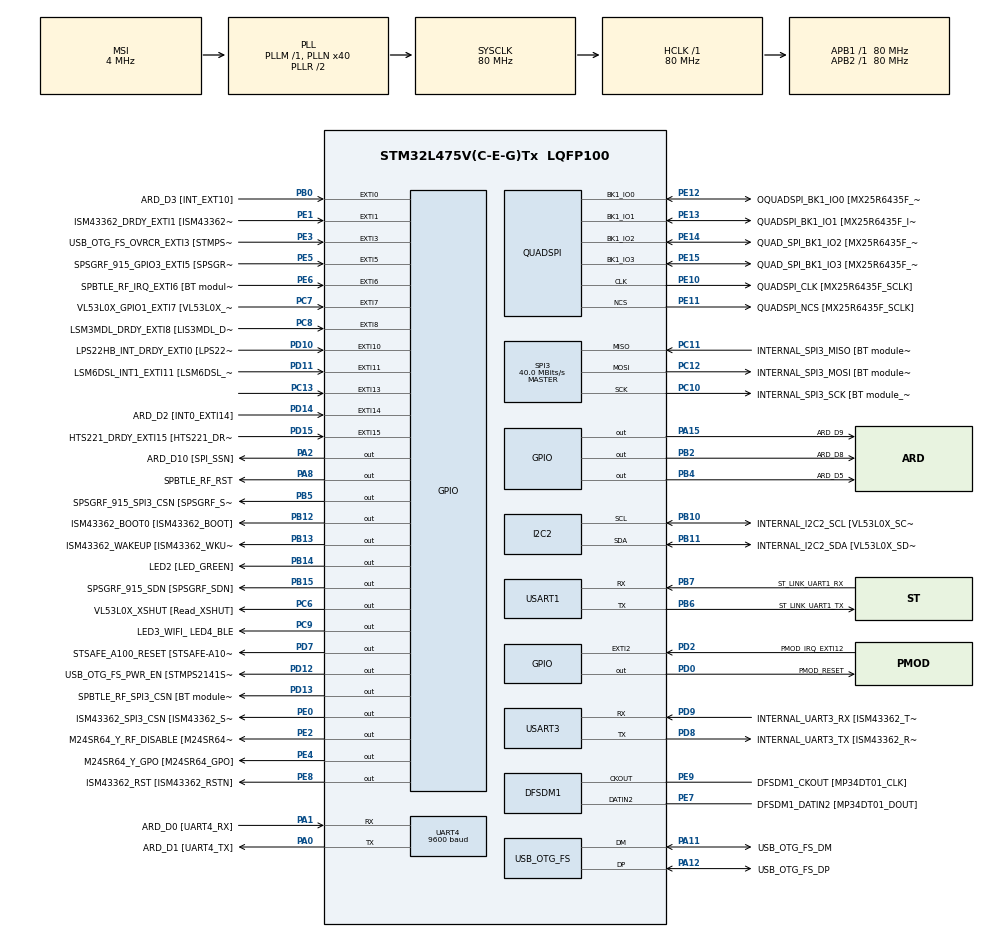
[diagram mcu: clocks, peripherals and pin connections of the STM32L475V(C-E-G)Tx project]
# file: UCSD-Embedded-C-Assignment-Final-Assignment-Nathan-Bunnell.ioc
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PD12.GPIO_Label=USB_OTG_FS_PWR_EN [STMPS2141STR_EN]
SPI3.Direction=SPI_DIRECTION_2LINES
SPI3.VirtualType=VM_MASTER
QUADSPI.ClockPrescaler=2
PB10.Mode=I2C
PC12.Signal=SPI3_MOSI
PB14.GPIO_Label=LED2 [LED_GREEN]
PC6.GPIO_Label=VL53L0X_XSHUT [Read_XSHUT]
PA6.GPIO_Label=ARD_D12 [SPI1_MISO]
PB6.GPIO_Label=ST_LINK_UART1_TX
PA15\ (JTDI).Signal=GPIO_Output
PC15-OSC32_OUT\ (PC15).Mode=LSE-External-Oscillator
PB13.Signal=GPIO_Output
PD6.GPIO_Label=PMOD_UART2_RX
PE6.GPIO_Label=SPBTLE_RF_IRQ_EXTI6 [BT module_SPI_IRQ]
RCC.SYSCLKSource=RCC_SYSCLKSOURCE_PLLCLK
PC14-OSC32_IN\ (PC14).Mode=LSE-External-Oscillator
SH.ADCx_IN16.0=ADC1_IN16
USART3.VirtualMode-Asynchronous=VM_ASYNC
PA14\ (JTCK-SWCLK).Signal=SYS_JTCK-SWCLK
PD4.Signal=USART2_RTS
RCC.APB2TimFreq_Value=80000000
PB6.Signal=USART1_TX
PC7.Signal=GPXTI7
PB6.Mode=Asynchronous
PC3.Signal=ADCx_IN4
PD0.Signal=GPIO_Output
PD8.Signal=USART3_TX
PE5.Signal=GPXTI5
PE1.Signal=GPXTI1
QUADSPI.FlashSize=23
NVIC.EXTI15_10_IRQn=true\:0\:0\:false\:false\:true\:true\:true
PB2.Signal=GPIO_Output
PD1.GPIO_Label=PMOD_SPI2_SCK
PB12.GPIO_Label=ISM43362_BOOT0 [ISM43362_BOOT]
PC4.GPIO_Label=ARD_A1 [ADC]
PE9.Signal=S_CKOUTDFSDM1
PB1.GPIO_Label=ARD_D6 [ADC1_IN6]
PE4.GPIO_Label=M24SR64_Y_GPO [M24SR64_GPO]
PA0.Mode=Asynchronous
PE2.Signal=GPIO_Output
PA8.Signal=GPIO_Output
PE13.Mode=Single Bank
PE10.Signal=QUADSPI_CLK
PA0.Signal=UART4_TX
Mcu.Package=LQFP100
PB9.Signal=I2C1_SDA
PB1.Signal=ADCx_IN16
SPI3.Mode=SPI_MODE_MASTER
SH.ADCx_IN14.0=ADC1_IN14
PD12.Signal=GPIO_Output
PA10.Signal=USB_OTG_FS_ID
PE12.GPIO_Label=OQUADSPI_BK1_IO0 [MX25R6435F_IO0]
PC11.Mode=Full_Duplex_Master
SH.ADCx_IN9.0=ADC1_IN9
RCC.APB1TimFreq_Value=80000000
PA13\ (JTMS-SWDIO).Signal=SYS_JTMS-SWDIO
PE10.GPIO_Label=QUADSPI_CLK [MX25R6435F_SCLK]
PA4.GPIO_Label=ARD_D7
PD15.Signal=GPXTI15
PE12.Mode=Single Bank
PD9.GPIO_Label=INTERNAL_UART3_RX [ISM43362_TX]
PA9.GPIO_Label=USB_OTG_FS_VBUS [STMPS2141STR_OUT]
PC13.Signal=GPXTI13
PD3.Signal=USART2_CTS
PC6.Signal=GPIO_Output
PE10.Mode=Single Bank
PC2.Signal=ADCx_IN3
PB11.GPIO_Label=INTERNAL_I2C2_SDA [VL53L0X_SDA]
PD7.Signal=GPIO_Output
PD1.Signal=SPI2_SCK
PA11.GPIO_Label=USB_OTG_FS_DM
PC0.Signal=ADCx_IN1
PD10.Signal=GPXTI10
PB8.GPIO_Label=ARD_D15 [I2C1_SCL]
PA8.GPIO_Label=SPBTLE_RF_RST
PB11.Mode=I2C
PE8.GPIO_Label=ISM43362_RST [ISM43362_RSTN]
PA9.Signal=USB_OTG_FS_VBUS
PE9.GPIO_Label=DFSDM1_CKOUT [MP34DT01_CLK]
PD8.Mode=Asynchronous
PB10.Signal=I2C2_SCL
PB14.Signal=GPIO_Output
PA5.Signal=SPI1_SCK
PC12.Mode=Full_Duplex_Master
PE1.GPIO_Label=ISM43362_DRDY_EXTI1 [ISM43362_DATARDY]
PA1.Mode=Asynchronous
PE14.Signal=QUADSPI_BK1_IO2
PE15.Signal=QUADSPI_BK1_IO3
PB15.GPIO_Label=SPSGRF_915_SDN [SPSGRF_SDN]
PE8.Signal=GPIO_Output
PA1.GPIO_Label=ARD_D0 [UART4_RX]
SH.ADCx_IN4.0=ADC1_IN4
QUADSPI.FifoThreshold=4
PC7.GPIO_Label=VL53L0X_GPIO1_EXTI7 [VL53L0X_GPIO1]
PA13\ (JTMS-SWDIO).Mode=Serial_Wire
PA4.Signal=ADCx_IN9
PB5.Signal=GPIO_Output
PE13.GPIO_Label=QUADSPI_BK1_IO1 [MX25R6435F_IO1]
PA5.GPIO_Label=ARD_D13 [SPI1_SCK]
PD11.Signal=GPXTI11
PE5.GPIO_Label=SPSGRF_915_GPIO3_EXTI5 [SPSGRF_GPIO_3]
PC12.GPIO_Label=INTERNAL_SPI3_MOSI [BT module_SPI_MOSI] [ISM43362_MOSI]
PA11.Signal=USB_OTG_FS_DM
ProjectManager.HeapSize=0x200
NVIC.PriorityGroup=NVIC_PRIORITYGROUP_4
PE3.Signal=GPXTI3
PC3.GPIO_Label=ARD_A2 [ADC]
PB4\ (NJTRST).GPIO_Label=ARD_D5
PD2.Signal=GPXTI2
PB0.Signal=GPXTI0
PC1.Signal=ADCx_IN2
PD2.GPIO_Label=PMOD_IRQ_EXTI12
PE15.Mode=Single Bank
Mcu.Family=STM32L4
RCC.CortexFreq_Value=80000000
PE11.GPIO_Label=QUADSPI_NCS [MX25R6435F_SCLK]
SH.ADCx_IN2.0=ADC1_IN2
PC10.Signal=SPI3_SCK
I2C2.Timing=0x10909CEC
PA0.GPIO_Label=ARD_D1 [UART4_TX]
PC0.GPIO_Label=ARD_A5 [ADC]
PD0.GPIO_Label=PMOD_RESET
PA11.Mode=Device_Only
PB0.GPIO_Label=ARD_D3 [INT_EXT10]
PB13.GPIO_Label=ISM43362_WAKEUP [ISM43362_WKUP]
PB11.Signal=I2C2_SDA
PB15.Signal=GPIO_Output
PD9.Mode=Asynchronous
ProjectManager.StackSize=0x400
PB3\ (JTDO-TRACESWO).Signal=SYS_JTDO-SWO
PD13.Signal=GPIO_Output
PA12.Signal=USB_OTG_FS_DP
PE11.Mode=Single Bank
UART4.BaudRate=9600
PD11.GPIO_Label=LSM6DSL_INT1_EXTI11 [LSM6DSL_INT1]
RCC.HCLKFreq_Value=80000000
SH.ADCx_IN3.0=ADC1_IN3
PB5.PinState=GPIO_PIN_SET
RCC.AHBFreq_Value=80000000
RCC.HSE_VALUE=8000000
PE13.Signal=QUADSPI_BK1_IO1
PC11.GPIO_Label=INTERNAL_SPI3_MISO [BT module_SPI_MISO] [ISM43362_MISO]
PA10.GPIO_Label=USB_OTG_FS_ID
PB7.Signal=USART1_RX
PE4.Signal=GPIO_Output
QUADSPI.SampleShifting=QSPI_SAMPLE_SHIFTING_HALFCYCLE
PD7.GPIO_Label=STSAFE_A100_RESET [STSAFE-A100_RESET]
PB7.GPIO_Label=ST_LINK_UART1_RX
PD13.GPIO_Label=SPBTLE_RF_SPI3_CSN [BT module_SPI_CS]
PA6.Signal=SPI1_MISO
PD5.GPIO_Label=PMOD_UART2_TX
PA2.GPIO_Label=ARD_D10 [SPI_SSN]
USB_OTG_FS.VirtualMode=Device_Only
PE0.GPIO_Label=ISM43362_SPI3_CSN [ISM43362_SSN]
SH.ADCx_IN1.0=ADC1_IN1
PB5.GPIO_Label=SPSGRF_915_SPI3_CSN [SPSGRF_SPI_CS]
PC5.Signal=ADCx_IN14
PD3.GPIO_Label=PMOD_UART2_CTS
PE7.Signal=S_DATAIN2DFSDM1
PD6.Signal=USART2_RX
PE2.GPIO_Label=M24SR64_Y_RF_DISABLE [M24SR64_RFDIS]
PC2.GPIO_Label=ARD_A3 [ADC]
RCC.PLLSAI1N=24
PA3.Signal=S_TIM2_CH4
RCC.MSI_VALUE=4000000
PA14\ (JTCK-SWCLK).Mode=Serial_Wire
SH.ADCx_IN13.0=ADC1_IN13
PD15.GPIO_Label=HTS221_DRDY_EXTI15 [HTS221_DRDY]
PB9.GPIO_Label=ARD_D14 [I2C1_SDA]
PC10.GPIO_Label=INTERNAL_SPI3_SCK [BT module_SPI_SCLK] [ISM43362_SCK]
PC9.GPIO_Label=LED3_WIFI_ LED4_BLE
PC11.Signal=SPI3_MISO
PC8.Signal=GPXTI8
PC4.Signal=ADCx_IN13
PC10.Mode=Full_Duplex_Master
SH.S_DATAIN2DFSDM1.0=DFSDM1_DATIN2,PDM_SPI_Input_from_ch12_and_Internal_Clock
PE14.GPIO_Label=QUAD_SPI_BK1_IO2 [MX25R6435F_IO2]
PC15-OSC32_OUT\ (PC15).Signal=RCC_OSC32_OUT
PD9.Signal=USART3_RX
PD5.Signal=USART2_TX
PA14\ (JTCK-SWCLK).GPIO_Label=SYS_JTCK_SWCLK
PB3\ (JTDO-TRACESWO).GPIO_Label=SYS_JTD0_SWO
PA12.GPIO_Label=USB_OTG_FS_DP
PD8.GPIO_Label=INTERNAL_UART3_TX [ISM43362_RX]
PC8.GPIO_Label=LSM3MDL_DRDY_EXTI8 [LIS3MDL_DRDY]
USART1.VirtualMode-Asynchronous=VM_ASYNC
PE0.PinState=GPIO_PIN_SET
PE15.GPIO_Label=QUAD_SPI_BK1_IO3 [MX25R6435F_IO3]
ProjectManager.TargetToolchain=STM32CubeIDE
PB10.GPIO_Label=INTERNAL_I2C2_SCL [VL53L0X_SCL]
RCC.USBFreq_Value=48000000
PD10.GPIO_Label=LPS22HB_INT_DRDY_EXTI0 [LPS22HB_INT_DRDY] 
PE11.Signal=QUADSPI_NCS
PA1.Signal=UART4_RX
board=B-L475E-IOT01A1
RCC.VCOOutputFreq_Value=160000000
RCC.APB2Freq_Value=80000000
SPI3.CalculateBaudRate=40.0 MBits/s
PA13\ (JTMS-SWDIO).GPIO_Label=SYS_JTMS_SWDIO
PD4.GPIO_Label=PMOD_UART2_RTS
PE14.Mode=Single Bank
SH.S_CKOUTDFSDM1.0=DFSDM1_CKOUT,CKOUT
SH.S_CKOUTDFSDM1.1=DFSDM1_CKOUT,PDM_SPI_Input_from_ch12_and_Internal_Clock
RCC.ADCFreq_Value=48000000
PC1.GPIO_Label=ARD_A4 [ADC]
PD14.GPIO_Label=ARD_D2 [INT0_EXTI14]
PE6.Signal=GPXTI6
PA15\ (JTDI).GPIO_Label=ARD_D9
Mcu.Name=STM32L475V(C-E-G)Tx
PE0.Signal=GPIO_Output
PE7.GPIO_Label=DFSDM1_DATIN2 [MP34DT01_DOUT]
PE12.Signal=QUADSPI_BK1_IO0
PA2.Signal=GPIO_Output
PD14.Signal=GPXTI14
RCC.SYSCLKFreq_VALUE=80000000
PA7.GPIO_Label=ARD_D11 [SPI1_MOSI]
PA12.Mode=Device_Only
PC5.GPIO_Label=ARD_A0 [ADC]
PC14-OSC32_IN\ (PC14).Signal=RCC_OSC32_IN
PB7.Mode=Asynchronous
NVIC.EXTI9_5_IRQn=true\:0\:0\:false\:false\:true\:true\:true
PB2.GPIO_Label=ARD_D8
SH.S_TIM2_CH4.0=TIM2_CH4
RCC.HSI_VALUE=16000000
RCC.PLLN=40
PB8.Signal=I2C1_SCL
PE3.GPIO_Label=USB_OTG_FS_OVRCR_EXTI3 [STMPS2141STR_FAULT]
PC9.Signal=GPIO_Output
PD13.PinState=GPIO_PIN_SET
RCC.APB1Freq_Value=80000000
PB12.Signal=GPIO_Output
PA3.GPIO_Label=ARD_D4
PA7.Signal=SPI1_MOSI
PB4\ (NJTRST).Signal=GPIO_Output

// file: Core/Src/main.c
/* USER CODE BEGIN Header */
/**
  ******************************************************************************
  * @file           : main.c
  * @brief          : Main program body
  ******************************************************************************
  * @attention
  *
  * <h2><center>&copy; Copyright (c) 2021 STMicroelectronics.
  * All rights reserved.</center></h2>
  *
  * This software component is licensed by ST under BSD 3-Clause license,
  * the "License"; You may not use this file except in compliance with the
  * License. You may obtain a copy of the License at:
  *                        opensource.org/licenses/BSD-3-Clause
  *
  ******************************************************************************
  */
/* USER CODE END Header */
#include "main.h"

/* USER CODE BEGIN Includes */

#include "stm32l4xx_ll_utils.h"
#include "stm32l4xx_ll_gpio.h"

#include "stm32l475e_iot01.h"
#include "stm32l475e_iot01_tsensor.h"

#include <stdio.h>
#include <string.h>

/* USER CODE END Includes */

DFSDM_Channel_HandleTypeDef hdfsdm1_channel1;

I2C_HandleTypeDef hi2c2;

QSPI_HandleTypeDef hqspi;

SPI_HandleTypeDef hspi3;

UART_HandleTypeDef huart4;
UART_HandleTypeDef huart1;
UART_HandleTypeDef huart3;

PCD_HandleTypeDef hpcd_USB_OTG_FS;

/* USER CODE BEGIN PV */

// Global counter variable to track current demo #
uint8_t demoCount = 1;

/* USER CODE END PV */

void SystemClock_Config(void);
static void MX_GPIO_Init(void);
static void MX_DFSDM1_Init(void);
static void MX_I2C2_Init(void);
static void MX_QUADSPI_Init(void);
static void MX_SPI3_Init(void);
static void MX_USART1_UART_Init(void);
static void MX_USART3_UART_Init(void);
static void MX_USB_OTG_FS_PCD_Init(void);
static void MX_UART4_Init(void);
/* USER CODE BEGIN PFP */

void do_LL_demo(void);
void do_HAL_demo(void);
void do_BSP_demo(void);
void do_bonus_demo(void);

/* USER CODE END PFP */

/* USER CODE BEGIN 0 */

void HAL_GPIO_EXTI_Callback(uint16_t GPIO_Pin)
{
	if (GPIO_Pin == GPIO_PIN_13)
	{
		if (demoCount >= 4)
		{
			demoCount = 1;
		}
		else
		{
			demoCount += 1;
		}

		char buffer[100] = {0};
		snprintf(buffer, sizeof(buffer), "\nMoving to demo #%d\n", demoCount);
		HAL_UART_Transmit(&huart4, (uint8_t*) buffer, strlen(buffer), 1000);
	}
}

/*
 * (a) get flash size  LL_GetFlashSize()
 * (b) get the device unique ID, LL_GetUID_Wordn()
 * (c) toggle the LED, LL_GPIO_TogglePin() at a 1 second rate
 *
 * Display the Flash Size and GUID only when demo begins,
 * but keep flashing the LED every 1 second until the Blue Button is
 * pressed to advance to next demo.
 *
 */
void do_LL_demo(void)
{
	char buffer[100] = {0};

	uint32_t flashSize = LL_GetFlashSize();

	snprintf(buffer, sizeof(buffer), "\tFlash size: %lu\n", flashSize);
	HAL_UART_Transmit(&huart4, (uint8_t*) buffer, strlen(buffer), 1000);

	uint32_t uidWord[3];
	uidWord[0] = LL_GetUID_Word0();
	uidWord[1] = LL_GetUID_Word1();
	uidWord[2] = LL_GetUID_Word2();

	snprintf(buffer, sizeof(buffer), "\tUID: %lu%lu%lu\n", uidWord[0], uidWord[1], uidWord[2]);
	HAL_UART_Transmit(&huart4, (uint8_t*) buffer, strlen(buffer), 1000);

	while(demoCount == 1)
	{
		LL_GPIO_SetOutputPin(GPIOB, GPIO_PIN_14);
		HAL_Delay(1000);
		LL_GPIO_ResetOutputPin(GPIOB, GPIO_PIN_14);
		HAL_Delay(1000);
	}
}

/*
 * (a) get the device ID, HAL_GetDEVID()
 * (b) read the device unique ID, HAL_GetUIDwn()
 * (c)toggle the LED, HAL_GPIO_TogglePin() at a 2 second rate, using HAL_Delay() to sleep for the 2 seconds.
 *
 * Display the Dev ID info only when demo 2 begins, but keep flashing
 * the LED every 2 second until the Blue Button is pressed to
 * advance to next demo.
 *
 */
void do_HAL_demo(void)
{
	char buffer[100] = {0};

	uint32_t devID = HAL_GetDEVID();

	snprintf(buffer, sizeof(buffer), "\tDevice ID: %lu\n", devID);
	HAL_UART_Transmit(&huart4, (uint8_t*) buffer, strlen(buffer), 1000);

	uint32_t uidWord[3];
	uidWord[0] = HAL_GetUIDw0();
	uidWord[1] = HAL_GetUIDw1();
	uidWord[2] = HAL_GetUIDw2();

	snprintf(buffer, sizeof(buffer), "\tUID: %lu%lu%lu\n", uidWord[0], uidWord[1], uidWord[2]);
	HAL_UART_Transmit(&huart4, (uint8_t*) buffer, strlen(buffer), 1000);

	while(demoCount == 2)
	{
		HAL_GPIO_TogglePin(LED2_GPIO_Port, LED2_Pin);
		HAL_Delay(2000);
	}
}

/*
 * (a) read the temperature, BSP_TSENSOR_ReadTemp()
 * (b) turn the LED on every 3 seconds with BSP_LED_On()
 * (c)  turn LED off, every 3 seconds with BSP_LED_Off().
 *
 * In other words the LED should blink on/off at a 3-second rate (3 seconds on, 3 seconds off). Continue
 * this until the Blue Button pressed to advance to the next demo.
 */
void do_BSP_demo(void)
{
	// Read the temperature sensor, trim the mantissa to give an integer value
	float temperature = BSP_TSENSOR_ReadTemp();
	int value = temperature;

	char buffer[100];
	snprintf(buffer, sizeof(buffer), "\tHTS221 reading %d degrees C\n", value);
	HAL_UART_Transmit(&huart4, (uint8_t *)buffer, strlen(buffer), 1000);

	while(demoCount == 3)
	{
		BSP_LED_On(LED2);
		HAL_Delay(3000);
		BSP_LED_Off(LED2);
		HAL_Delay(3000);
	}
}

/*
 * (4) connect an I2C or SPI device to the Arduino pins, and read the info from those devices
 */
void do_bonus_demo(void)
{
	char* cliResponse = "\tDEMO NOT IMPLEMENTED YET\n";
	HAL_UART_Transmit(&huart4, (uint8_t*) cliResponse, strlen(cliResponse), 1000);

	while(demoCount == 4)
	{
		HAL_Delay(1000);
	}
}

/* USER CODE END 0 */

int main(void)
{

  /* MCU Configuration--------------------------------------------------------*/

  /* Reset of all peripherals, Initializes the Flash interface and the Systick. */
  HAL_Init();

  /* Configure the system clock */
  SystemClock_Config();

  /* Initialize all configured peripherals */
  MX_GPIO_Init();
  MX_DFSDM1_Init();
  MX_I2C2_Init();
  MX_QUADSPI_Init();
  MX_SPI3_Init();
  MX_USART1_UART_Init();
  MX_USART3_UART_Init();
  MX_USB_OTG_FS_PCD_Init();
  MX_UART4_Init();
  /* USER CODE BEGIN 2 */

  demoCount = 1;

  // Init the temp sensor
  BSP_TSENSOR_Init();

  /* USER CODE END 2 */

  /* Infinite loop */
  while (1)
  {

    /* USER CODE BEGIN 3 */

	  	  // Define strings to structure prompt around
	  	  char* cliResponse = "\0";

	  	  // Evaluate input
	  	  switch (demoCount)
	  	  {
	  		case 1:
	  			cliResponse = "\nLL demo:\n";
	  			HAL_UART_Transmit(&huart4, (uint8_t*) cliResponse, strlen(cliResponse), 1000);
	  			do_LL_demo();
	  			break;

	  		case 2:
	  			cliResponse = "\nHAL demo:\n";
	  			HAL_UART_Transmit(&huart4, (uint8_t*) cliResponse, strlen(cliResponse), 1000);
	  			do_HAL_demo();
	  			break;

	  		case 3:
				cliResponse = "\nBSP demo:\n";
				HAL_UART_Transmit(&huart4, (uint8_t*) cliResponse, strlen(cliResponse), 1000);
				do_BSP_demo();
				break;

	  		case 4:
				cliResponse = "\nBonus demo:\n";
				HAL_UART_Transmit(&huart4, (uint8_t*) cliResponse, strlen(cliResponse), 1000);
				do_bonus_demo();
				break;

	  		default:
	  			HAL_UART_Transmit(&huart4, (uint8_t*) cliResponse, strlen(cliResponse), 1000);
	  			break;
	  	  }

	  }
  /* USER CODE END 3 */
}

void SystemClock_Config(void)
{
  RCC_OscInitTypeDef RCC_OscInitStruct = {0};
  RCC_ClkInitTypeDef RCC_ClkInitStruct = {0};
  RCC_PeriphCLKInitTypeDef PeriphClkInit = {0};

  /** Configure LSE Drive Capability
  */
  HAL_PWR_EnableBkUpAccess();
  __HAL_RCC_LSEDRIVE_CONFIG(RCC_LSEDRIVE_LOW);
  /** Initializes the RCC Oscillators according to the specified parameters
  * in the RCC_OscInitTypeDef structure.
  */
  RCC_OscInitStruct.OscillatorType = RCC_OSCILLATORTYPE_LSE|RCC_OSCILLATORTYPE_MSI;
  RCC_OscInitStruct.LSEState = RCC_LSE_ON;
  RCC_OscInitStruct.MSIState = RCC_MSI_ON;
  RCC_OscInitStruct.MSICalibrationValue = 0;
  RCC_OscInitStruct.MSIClockRange = RCC_MSIRANGE_6;
  RCC_OscInitStruct.PLL.PLLState = RCC_PLL_ON;
  RCC_OscInitStruct.PLL.PLLSource = RCC_PLLSOURCE_MSI;
  RCC_OscInitStruct.PLL.PLLM = 1;
  RCC_OscInitStruct.PLL.PLLN = 40;
  RCC_OscInitStruct.PLL.PLLP = RCC_PLLP_DIV7;
  RCC_OscInitStruct.PLL.PLLQ = RCC_PLLQ_DIV2;
  RCC_OscInitStruct.PLL.PLLR = RCC_PLLR_DIV2;
  if (HAL_RCC_OscConfig(&RCC_OscInitStruct) != HAL_OK)
  {
    Error_Handler();
  }
  /** Initializes the CPU, AHB and APB buses clocks
  */
  RCC_ClkInitStruct.ClockType = RCC_CLOCKTYPE_HCLK|RCC_CLOCKTYPE_SYSCLK
                              |RCC_CLOCKTYPE_PCLK1|RCC_CLOCKTYPE_PCLK2;
  RCC_ClkInitStruct.SYSCLKSource = RCC_SYSCLKSOURCE_PLLCLK;
  RCC_ClkInitStruct.AHBCLKDivider = RCC_SYSCLK_DIV1;
  RCC_ClkInitStruct.APB1CLKDivider = RCC_HCLK_DIV1;
  RCC_ClkInitStruct.APB2CLKDivider = RCC_HCLK_DIV1;

  if (HAL_RCC_ClockConfig(&RCC_ClkInitStruct, FLASH_LATENCY_4) != HAL_OK)
  {
    Error_Handler();
  }
  PeriphClkInit.PeriphClockSelection = RCC_PERIPHCLK_USART1|RCC_PERIPHCLK_USART3
                              |RCC_PERIPHCLK_UART4|RCC_PERIPHCLK_I2C2
                              |RCC_PERIPHCLK_DFSDM1|RCC_PERIPHCLK_USB;
  PeriphClkInit.Usart1ClockSelection = RCC_USART1CLKSOURCE_PCLK2;
  PeriphClkInit.Usart3ClockSelection = RCC_USART3CLKSOURCE_PCLK1;
  PeriphClkInit.Uart4ClockSelection = RCC_UART4CLKSOURCE_PCLK1;
  PeriphClkInit.I2c2ClockSelection = RCC_I2C2CLKSOURCE_PCLK1;
  PeriphClkInit.Dfsdm1ClockSelection = RCC_DFSDM1CLKSOURCE_PCLK;
  PeriphClkInit.UsbClockSelection = RCC_USBCLKSOURCE_PLLSAI1;
  PeriphClkInit.PLLSAI1.PLLSAI1Source = RCC_PLLSOURCE_MSI;
  PeriphClkInit.PLLSAI1.PLLSAI1M = 1;
  PeriphClkInit.PLLSAI1.PLLSAI1N = 24;
  PeriphClkInit.PLLSAI1.PLLSAI1P = RCC_PLLP_DIV7;
  PeriphClkInit.PLLSAI1.PLLSAI1Q = RCC_PLLQ_DIV2;
  PeriphClkInit.PLLSAI1.PLLSAI1R = RCC_PLLR_DIV2;
  PeriphClkInit.PLLSAI1.PLLSAI1ClockOut = RCC_PLLSAI1_48M2CLK;
  if (HAL_RCCEx_PeriphCLKConfig(&PeriphClkInit) != HAL_OK)
  {
    Error_Handler();
  }
  /** Configure the main internal regulator output voltage
  */
  if (HAL_PWREx_ControlVoltageScaling(PWR_REGULATOR_VOLTAGE_SCALE1) != HAL_OK)
  {
    Error_Handler();
  }
  /** Enable MSI Auto calibration
  */
  HAL_RCCEx_EnableMSIPLLMode();
}

static void MX_DFSDM1_Init(void)
{

  hdfsdm1_channel1.Instance = DFSDM1_Channel1;
  hdfsdm1_channel1.Init.OutputClock.Activation = ENABLE;
  hdfsdm1_channel1.Init.OutputClock.Selection = DFSDM_CHANNEL_OUTPUT_CLOCK_SYSTEM;
  hdfsdm1_channel1.Init.OutputClock.Divider = 2;
  hdfsdm1_channel1.Init.Input.Multiplexer = DFSDM_CHANNEL_EXTERNAL_INPUTS;
  hdfsdm1_channel1.Init.Input.DataPacking = DFSDM_CHANNEL_STANDARD_MODE;
  hdfsdm1_channel1.Init.Input.Pins = DFSDM_CHANNEL_FOLLOWING_CHANNEL_PINS;
  hdfsdm1_channel1.Init.SerialInterface.Type = DFSDM_CHANNEL_SPI_RISING;
  hdfsdm1_channel1.Init.SerialInterface.SpiClock = DFSDM_CHANNEL_SPI_CLOCK_INTERNAL;
  hdfsdm1_channel1.Init.Awd.FilterOrder = DFSDM_CHANNEL_FASTSINC_ORDER;
  hdfsdm1_channel1.Init.Awd.Oversampling = 1;
  hdfsdm1_channel1.Init.Offset = 0;
  hdfsdm1_channel1.Init.RightBitShift = 0x00;
  if (HAL_DFSDM_ChannelInit(&hdfsdm1_channel1) != HAL_OK)
  {
    Error_Handler();
  }

}

static void MX_I2C2_Init(void)
{

  hi2c2.Instance = I2C2;
  hi2c2.Init.Timing = 0x10909CEC;
  hi2c2.Init.OwnAddress1 = 0;
  hi2c2.Init.AddressingMode = I2C_ADDRESSINGMODE_7BIT;
  hi2c2.Init.DualAddressMode = I2C_DUALADDRESS_DISABLE;
  hi2c2.Init.OwnAddress2 = 0;
  hi2c2.Init.OwnAddress2Masks = I2C_OA2_NOMASK;
  hi2c2.Init.GeneralCallMode = I2C_GENERALCALL_DISABLE;
  hi2c2.Init.NoStretchMode = I2C_NOSTRETCH_DISABLE;
  if (HAL_I2C_Init(&hi2c2) != HAL_OK)
  {
    Error_Handler();
  }
  /** Configure Analogue filter
  */
  if (HAL_I2CEx_ConfigAnalogFilter(&hi2c2, I2C_ANALOGFILTER_ENABLE) != HAL_OK)
  {
    Error_Handler();
  }
  /** Configure Digital filter
  */
  if (HAL_I2CEx_ConfigDigitalFilter(&hi2c2, 0) != HAL_OK)
  {
    Error_Handler();
  }

}

static void MX_QUADSPI_Init(void)
{

  /* QUADSPI parameter configuration*/
  hqspi.Instance = QUADSPI;
  hqspi.Init.ClockPrescaler = 2;
  hqspi.Init.FifoThreshold = 4;
  hqspi.Init.SampleShifting = QSPI_SAMPLE_SHIFTING_HALFCYCLE;
  hqspi.Init.FlashSize = 23;
  hqspi.Init.ChipSelectHighTime = QSPI_CS_HIGH_TIME_1_CYCLE;
  hqspi.Init.ClockMode = QSPI_CLOCK_MODE_0;
  if (HAL_QSPI_Init(&hqspi) != HAL_OK)
  {
    Error_Handler();
  }

}

static void MX_SPI3_Init(void)
{

  /* SPI3 parameter configuration*/
  hspi3.Instance = SPI3;
  hspi3.Init.Mode = SPI_MODE_MASTER;
  hspi3.Init.Direction = SPI_DIRECTION_2LINES;
  hspi3.Init.DataSize = SPI_DATASIZE_4BIT;
  hspi3.Init.CLKPolarity = SPI_POLARITY_LOW;
  hspi3.Init.CLKPhase = SPI_PHASE_1EDGE;
  hspi3.Init.NSS = SPI_NSS_SOFT;
  hspi3.Init.BaudRatePrescaler = SPI_BAUDRATEPRESCALER_2;
  hspi3.Init.FirstBit = SPI_FIRSTBIT_MSB;
  hspi3.Init.TIMode = SPI_TIMODE_DISABLE;
  hspi3.Init.CRCCalculation = SPI_CRCCALCULATION_DISABLE;
  hspi3.Init.CRCPolynomial = 7;
  hspi3.Init.CRCLength = SPI_CRC_LENGTH_DATASIZE;
  hspi3.Init.NSSPMode = SPI_NSS_PULSE_ENABLE;
  if (HAL_SPI_Init(&hspi3) != HAL_OK)
  {
    Error_Handler();
  }

}

static void MX_UART4_Init(void)
{

  huart4.Instance = UART4;
  huart4.Init.BaudRate = 9600;
  huart4.Init.WordLength = UART_WORDLENGTH_8B;
  huart4.Init.StopBits = UART_STOPBITS_1;
  huart4.Init.Parity = UART_PARITY_NONE;
  huart4.Init.Mode = UART_MODE_TX_RX;
  huart4.Init.HwFlowCtl = UART_HWCONTROL_NONE;
  huart4.Init.OverSampling = UART_OVERSAMPLING_16;
  huart4.Init.OneBitSampling = UART_ONE_BIT_SAMPLE_DISABLE;
  huart4.AdvancedInit.AdvFeatureInit = UART_ADVFEATURE_NO_INIT;
  if (HAL_UART_Init(&huart4) != HAL_OK)
  {
    Error_Handler();
  }

}

static void MX_USART1_UART_Init(void)
{

  huart1.Instance = USART1;
  huart1.Init.BaudRate = 115200;
  huart1.Init.WordLength = UART_WORDLENGTH_8B;
  huart1.Init.StopBits = UART_STOPBITS_1;
  huart1.Init.Parity = UART_PARITY_NONE;
  huart1.Init.Mode = UART_MODE_TX_RX;
  huart1.Init.HwFlowCtl = UART_HWCONTROL_NONE;
  huart1.Init.OverSampling = UART_OVERSAMPLING_16;
  huart1.Init.OneBitSampling = UART_ONE_BIT_SAMPLE_DISABLE;
  huart1.AdvancedInit.AdvFeatureInit = UART_ADVFEATURE_NO_INIT;
  if (HAL_UART_Init(&huart1) != HAL_OK)
  {
    Error_Handler();
  }

}

static void MX_USART3_UART_Init(void)
{

  huart3.Instance = USART3;
  huart3.Init.BaudRate = 115200;
  huart3.Init.WordLength = UART_WORDLENGTH_8B;
  huart3.Init.StopBits = UART_STOPBITS_1;
  huart3.Init.Parity = UART_PARITY_NONE;
  huart3.Init.Mode = UART_MODE_TX_RX;
  huart3.Init.HwFlowCtl = UART_HWCONTROL_NONE;
  huart3.Init.OverSampling = UART_OVERSAMPLING_16;
  huart3.Init.OneBitSampling = UART_ONE_BIT_SAMPLE_DISABLE;
  huart3.AdvancedInit.AdvFeatureInit = UART_ADVFEATURE_NO_INIT;
  if (HAL_UART_Init(&huart3) != HAL_OK)
  {
    Error_Handler();
  }

}

static void MX_USB_OTG_FS_PCD_Init(void)
{

  hpcd_USB_OTG_FS.Instance = USB_OTG_FS;
  hpcd_USB_OTG_FS.Init.dev_endpoints = 6;
  hpcd_USB_OTG_FS.Init.speed = PCD_SPEED_FULL;
  hpcd_USB_OTG_FS.Init.phy_itface = PCD_PHY_EMBEDDED;
  hpcd_USB_OTG_FS.Init.Sof_enable = DISABLE;
  hpcd_USB_OTG_FS.Init.low_power_enable = DISABLE;
  hpcd_USB_OTG_FS.Init.lpm_enable = DISABLE;
  hpcd_USB_OTG_FS.Init.battery_charging_enable = DISABLE;
  hpcd_USB_OTG_FS.Init.use_dedicated_ep1 = DISABLE;
  hpcd_USB_OTG_FS.Init.vbus_sensing_enable = DISABLE;
  if (HAL_PCD_Init(&hpcd_USB_OTG_FS) != HAL_OK)
  {
    Error_Handler();
  }

}

static void MX_GPIO_Init(void)
{
  GPIO_InitTypeDef GPIO_InitStruct = {0};

  /* GPIO Ports Clock Enable */
  __HAL_RCC_GPIOE_CLK_ENABLE();
  __HAL_RCC_GPIOC_CLK_ENABLE();
  __HAL_RCC_GPIOA_CLK_ENABLE();
  __HAL_RCC_GPIOB_CLK_ENABLE();
  __HAL_RCC_GPIOD_CLK_ENABLE();

  /*Configure GPIO pin Output Level */
  HAL_GPIO_WritePin(GPIOE, M24SR64_Y_RF_DISABLE_Pin|M24SR64_Y_GPO_Pin|ISM43362_RST_Pin, GPIO_PIN_RESET);

  /*Configure GPIO pin Output Level */
  HAL_GPIO_WritePin(GPIOA, ARD_D10_Pin|SPBTLE_RF_RST_Pin|ARD_D9_Pin, GPIO_PIN_RESET);

  /*Configure GPIO pin Output Level */
  HAL_GPIO_WritePin(GPIOB, ARD_D8_Pin|ISM43362_BOOT0_Pin|ISM43362_WAKEUP_Pin|LED2_Pin
                          |SPSGRF_915_SDN_Pin|ARD_D5_Pin, GPIO_PIN_RESET);

  /*Configure GPIO pin Output Level */
  HAL_GPIO_WritePin(GPIOD, USB_OTG_FS_PWR_EN_Pin|PMOD_RESET_Pin|STSAFE_A100_RESET_Pin, GPIO_PIN_RESET);

  /*Configure GPIO pin Output Level */
  HAL_GPIO_WritePin(SPBTLE_RF_SPI3_CSN_GPIO_Port, SPBTLE_RF_SPI3_CSN_Pin, GPIO_PIN_SET);

  /*Configure GPIO pin Output Level */
  HAL_GPIO_WritePin(GPIOC, VL53L0X_XSHUT_Pin|LED3_WIFI__LED4_BLE_Pin, GPIO_PIN_RESET);

  /*Configure GPIO pin Output Level */
  HAL_GPIO_WritePin(SPSGRF_915_SPI3_CSN_GPIO_Port, SPSGRF_915_SPI3_CSN_Pin, GPIO_PIN_SET);

  /*Configure GPIO pin Output Level */
  HAL_GPIO_WritePin(ISM43362_SPI3_CSN_GPIO_Port, ISM43362_SPI3_CSN_Pin, GPIO_PIN_SET);

  /*Configure GPIO pins : M24SR64_Y_RF_DISABLE_Pin M24SR64_Y_GPO_Pin ISM43362_RST_Pin ISM43362_SPI3_CSN_Pin */
  GPIO_InitStruct.Pin = M24SR64_Y_RF_DISABLE_Pin|M24SR64_Y_GPO_Pin|ISM43362_RST_Pin|ISM43362_SPI3_CSN_Pin;
  GPIO_InitStruct.Mode = GPIO_MODE_OUTPUT_PP;
  GPIO_InitStruct.Pull = GPIO_NOPULL;
  GPIO_InitStruct.Speed = GPIO_SPEED_FREQ_LOW;
  HAL_GPIO_Init(GPIOE, &GPIO_InitStruct);

  /*Configure GPIO pins : USB_OTG_FS_OVRCR_EXTI3_Pin SPSGRF_915_GPIO3_EXTI5_Pin SPBTLE_RF_IRQ_EXTI6_Pin ISM43362_DRDY_EXTI1_Pin */
  GPIO_InitStruct.Pin = USB_OTG_FS_OVRCR_EXTI3_Pin|SPSGRF_915_GPIO3_EXTI5_Pin|SPBTLE_RF_IRQ_EXTI6_Pin|ISM43362_DRDY_EXTI1_Pin;
  GPIO_InitStruct.Mode = GPIO_MODE_IT_RISING;
  GPIO_InitStruct.Pull = GPIO_NOPULL;
  HAL_GPIO_Init(GPIOE, &GPIO_InitStruct);

  /*Configure GPIO pins : PC13 VL53L0X_GPIO1_EXTI7_Pin LSM3MDL_DRDY_EXTI8_Pin */
  GPIO_InitStruct.Pin = GPIO_PIN_13|VL53L0X_GPIO1_EXTI7_Pin|LSM3MDL_DRDY_EXTI8_Pin;
  GPIO_InitStruct.Mode = GPIO_MODE_IT_RISING;
  GPIO_InitStruct.Pull = GPIO_NOPULL;
  HAL_GPIO_Init(GPIOC, &GPIO_InitStruct);

  /*Configure GPIO pins : ARD_A5_Pin ARD_A4_Pin ARD_A3_Pin ARD_A2_Pin
                           ARD_A1_Pin ARD_A0_Pin */
  GPIO_InitStruct.Pin = ARD_A5_Pin|ARD_A4_Pin|ARD_A3_Pin|ARD_A2_Pin
                          |ARD_A1_Pin|ARD_A0_Pin;
  GPIO_InitStruct.Mode = GPIO_MODE_ANALOG_ADC_CONTROL;
  GPIO_InitStruct.Pull = GPIO_NOPULL;
  HAL_GPIO_Init(GPIOC, &GPIO_InitStruct);

  /*Configure GPIO pins : ARD_D10_Pin SPBTLE_RF_RST_Pin ARD_D9_Pin */
  GPIO_InitStruct.Pin = ARD_D10_Pin|SPBTLE_RF_RST_Pin|ARD_D9_Pin;
  GPIO_InitStruct.Mode = GPIO_MODE_OUTPUT_PP;
  GPIO_InitStruct.Pull = GPIO_NOPULL;
  GPIO_InitStruct.Speed = GPIO_SPEED_FREQ_LOW;
  HAL_GPIO_Init(GPIOA, &GPIO_InitStruct);

  /*Configure GPIO pin : ARD_D4_Pin */
  GPIO_InitStruct.Pin = ARD_D4_Pin;
  GPIO_InitStruct.Mode = GPIO_MODE_AF_PP;
  GPIO_InitStruct.Pull = GPIO_NOPULL;
  GPIO_InitStruct.Speed = GPIO_SPEED_FREQ_LOW;
  GPIO_InitStruct.Alternate = GPIO_AF1_TIM2;
  HAL_GPIO_Init(ARD_D4_GPIO_Port, &GPIO_InitStruct);

  /*Configure GPIO pin : ARD_D7_Pin */
  GPIO_InitStruct.Pin = ARD_D7_Pin;
  GPIO_InitStruct.Mode = GPIO_MODE_ANALOG_ADC_CONTROL;
  GPIO_InitStruct.Pull = GPIO_NOPULL;
  HAL_GPIO_Init(ARD_D7_GPIO_Port, &GPIO_InitStruct);

  /*Configure GPIO pins : ARD_D13_Pin ARD_D12_Pin ARD_D11_Pin */
  GPIO_InitStruct.Pin = ARD_D13_Pin|ARD_D12_Pin|ARD_D11_Pin;
  GPIO_InitStruct.Mode = GPIO_MODE_AF_PP;
  GPIO_InitStruct.Pull = GPIO_NOPULL;
  GPIO_InitStruct.Speed = GPIO_SPEED_FREQ_VERY_HIGH;
  GPIO_InitStruct.Alternate = GPIO_AF5_SPI1;
  HAL_GPIO_Init(GPIOA, &GPIO_InitStruct);

  /*Configure GPIO pin : ARD_D3_Pin */
  GPIO_InitStruct.Pin = ARD_D3_Pin;
  GPIO_InitStruct.Mode = GPIO_MODE_IT_RISING;
  GPIO_InitStruct.Pull = GPIO_NOPULL;
  HAL_GPIO_Init(ARD_D3_GPIO_Port, &GPIO_InitStruct);

  /*Configure GPIO pin : ARD_D6_Pin */
  GPIO_InitStruct.Pin = ARD_D6_Pin;
  GPIO_InitStruct.Mode = GPIO_MODE_ANALOG_ADC_CONTROL;
  GPIO_InitStruct.Pull = GPIO_NOPULL;
  HAL_GPIO_Init(ARD_D6_GPIO_Port, &GPIO_InitStruct);

  /*Configure GPIO pins : ARD_D8_Pin ISM43362_BOOT0_Pin ISM43362_WAKEUP_Pin LED2_Pin
                           SPSGRF_915_SDN_Pin ARD_D5_Pin SPSGRF_915_SPI3_CSN_Pin */
  GPIO_InitStruct.Pin = ARD_D8_Pin|ISM43362_BOOT0_Pin|ISM43362_WAKEUP_Pin|LED2_Pin
                          |SPSGRF_915_SDN_Pin|ARD_D5_Pin|SPSGRF_915_SPI3_CSN_Pin;
  GPIO_InitStruct.Mode = GPIO_MODE_OUTPUT_PP;
  GPIO_InitStruct.Pull = GPIO_NOPULL;
  GPIO_InitStruct.Speed = GPIO_SPEED_FREQ_LOW;
  HAL_GPIO_Init(GPIOB, &GPIO_InitStruct);

  /*Configure GPIO pins : LPS22HB_INT_DRDY_EXTI0_Pin LSM6DSL_INT1_EXTI11_Pin ARD_D2_Pin HTS221_DRDY_EXTI15_Pin
                           PMOD_IRQ_EXTI12_Pin */
  GPIO_InitStruct.Pin = LPS22HB_INT_DRDY_EXTI0_Pin|LSM6DSL_INT1_EXTI11_Pin|ARD_D2_Pin|HTS221_DRDY_EXTI15_Pin
                          |PMOD_IRQ_EXTI12_Pin;
  GPIO_InitStruct.Mode = GPIO_MODE_IT_RISING;
  GPIO_InitStruct.Pull = GPIO_NOPULL;
  HAL_GPIO_Init(GPIOD, &GPIO_InitStruct);

  /*Configure GPIO pins : USB_OTG_FS_PWR_EN_Pin SPBTLE_RF_SPI3_CSN_Pin PMOD_RESET_Pin STSAFE_A100_RESET_Pin */
  GPIO_InitStruct.Pin = USB_OTG_FS_PWR_EN_Pin|SPBTLE_RF_SPI3_CSN_Pin|PMOD_RESET_Pin|STSAFE_A100_RESET_Pin;
  GPIO_InitStruct.Mode = GPIO_MODE_OUTPUT_PP;
  GPIO_InitStruct.Pull = GPIO_NOPULL;
  GPIO_InitStruct.Speed = GPIO_SPEED_FREQ_LOW;
  HAL_GPIO_Init(GPIOD, &GPIO_InitStruct);

  /*Configure GPIO pins : VL53L0X_XSHUT_Pin LED3_WIFI__LED4_BLE_Pin */
  GPIO_InitStruct.Pin = VL53L0X_XSHUT_Pin|LED3_WIFI__LED4_BLE_Pin;
  GPIO_InitStruct.Mode = GPIO_MODE_OUTPUT_PP;
  GPIO_InitStruct.Pull = GPIO_NOPULL;
  GPIO_InitStruct.Speed = GPIO_SPEED_FREQ_LOW;
  HAL_GPIO_Init(GPIOC, &GPIO_InitStruct);

  /*Configure GPIO pin : PMOD_SPI2_SCK_Pin */
  GPIO_InitStruct.Pin = PMOD_SPI2_SCK_Pin;
  GPIO_InitStruct.Mode = GPIO_MODE_AF_PP;
  GPIO_InitStruct.Pull = GPIO_NOPULL;
  GPIO_InitStruct.Speed = GPIO_SPEED_FREQ_VERY_HIGH;
  GPIO_InitStruct.Alternate = GPIO_AF5_SPI2;
  HAL_GPIO_Init(PMOD_SPI2_SCK_GPIO_Port, &GPIO_InitStruct);

  /*Configure GPIO pins : PMOD_UART2_CTS_Pin PMOD_UART2_RTS_Pin PMOD_UART2_TX_Pin PMOD_UART2_RX_Pin */
  GPIO_InitStruct.Pin = PMOD_UART2_CTS_Pin|PMOD_UART2_RTS_Pin|PMOD_UART2_TX_Pin|PMOD_UART2_RX_Pin;
  GPIO_InitStruct.Mode = GPIO_MODE_AF_PP;
  GPIO_InitStruct.Pull = GPIO_NOPULL;
  GPIO_InitStruct.Speed = GPIO_SPEED_FREQ_VERY_HIGH;
  GPIO_InitStruct.Alternate = GPIO_AF7_USART2;
  HAL_GPIO_Init(GPIOD, &GPIO_InitStruct);

  /*Configure GPIO pins : ARD_D15_Pin ARD_D14_Pin */
  GPIO_InitStruct.Pin = ARD_D15_Pin|ARD_D14_Pin;
  GPIO_InitStruct.Mode = GPIO_MODE_AF_OD;
  GPIO_InitStruct.Pull = GPIO_PULLUP;
  GPIO_InitStruct.Speed = GPIO_SPEED_FREQ_VERY_HIGH;
  GPIO_InitStruct.Alternate = GPIO_AF4_I2C1;
  HAL_GPIO_Init(GPIOB, &GPIO_InitStruct);

  /* EXTI interrupt init*/
  HAL_NVIC_SetPriority(EXTI9_5_IRQn, 0, 0);
  HAL_NVIC_EnableIRQ(EXTI9_5_IRQn);

  HAL_NVIC_SetPriority(EXTI15_10_IRQn, 0, 0);
  HAL_NVIC_EnableIRQ(EXTI15_10_IRQn);

}

void Error_Handler(void)
{
  __disable_irq();
  while (1)
  {
  }
}

/************************ (C) COPYRIGHT STMicroelectronics *****END OF FILE****/
